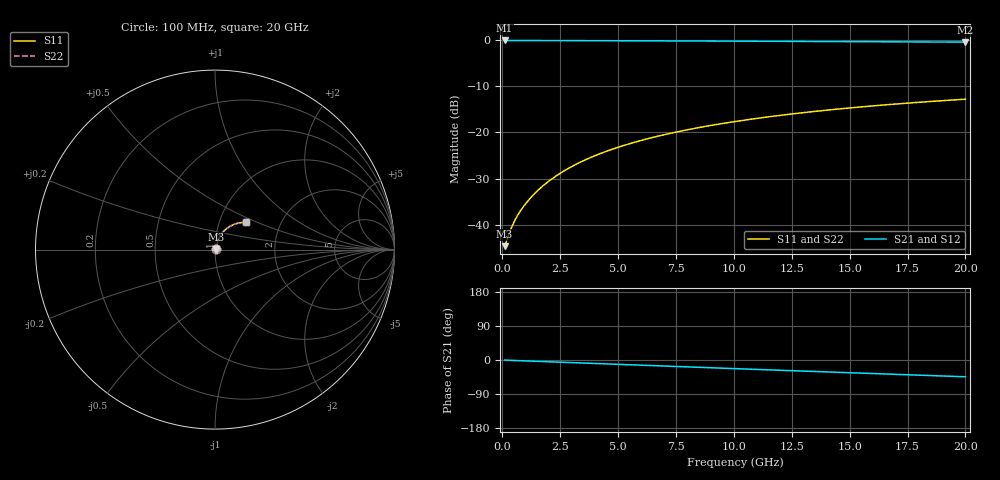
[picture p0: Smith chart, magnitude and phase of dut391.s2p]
! Touchstone file exported from HFSS 2026.1.0
!  File:  C:/ffzhzh/LocalFiles/Ansys_Project_Files/temp_train_TMRDL_391_1783004732_46388.aedt
!  Generated:  11:06:42 PM Jul  2, 2026
!  Design:  TMRDL
!  Project:  temp_train_TMRDL_391_1783004732_46388
! Variables:
!  h_bsmrdl = 2um
!  h_ox = 20um
!  h_rdl = 5um
!  h_sub = 80um
!  h_tmrdl = 2.83um
!  h_tsv = 80um
!  h_via = 3um
!  l_bsmrdl = 300um
!  l_sub = 1153.95um
!  l_tmrdl = 753.95um
!  m_sub = 200um
!  pitch = 26.09um
!  r_tsv = 6um
!  s_tmrdl = 10um
!  w_bsmrdl = 18um
!  w_sub = 500um
!  w_tmrdl = 17.47um
!  x_tsv_center1 = 762.685um
!  x_tsv_center2 = 1080.685um
!  x_tsv_center3 = 1852.105um
!  x_tsv_center4 = 2170.105um
!  x_tsv_center5 = 2941.525um
!  x_tsv_center6 = 3259.525um
# GHz S MA R 50.000000
! Terminal data exported
! Port[1] = TM_RDL1_1_T1
! Port[2] = TM_RDL1_1_T2
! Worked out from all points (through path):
!   200 points, 100 MHz to 20 GHz, reference 50 ohm
!   highest |S21| = -0.05 dB at 100 MHz (marker M1); lowest = -0.4 dB at 20 GHz (marker M2)
!   group delay of S21, straight-line fit = 6.14 ps
!   lowest |S11| = -44.6 dB at 100 MHz (marker M3), VSWR 1.01, Z = 50.6 + j0.184 ohm
!   |S11| at or under -10 dB: start of sweep to end of sweep
!   |S22| runs from -44.6 to -12.8 dB; largest |S21 - S12| = 3.9e-15
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0.1  0.005855 18.1  0.9944 -0.3  0.9944 -0.3  0.005855 18.1
! Gamma 0 0 0 0
! Port Impedance 50 0 50 0
0.4  0.00932 45.9  0.9936 -1.0  0.9936 -1.0  0.00932 45.9
0.5  0.0106 49.9  0.9933 -1.2  0.9933 -1.2  0.0106 49.9
0.6  0.01186 53.0  0.9931 -1.5  0.9931 -1.5  0.01186 53.0
0.7  0.0131 55.5  0.9928 -1.7  0.9928 -1.7  0.0131 55.5
0.9  0.01556 59.4  0.9925 -2.1  0.9925 -2.1  0.01556 59.4
1.1  0.01803 62.3  0.9922 -2.6  0.9922 -2.6  0.01803 62.3
1.3  0.02053 64.6  0.992 -3.1  0.992 -3.1  0.02053 64.6
1.8  0.02693 68.3  0.9916 -4.2  0.9916 -4.2  0.02693 68.3
2.3  0.03347 70.2  0.9911 -5.3  0.9911 -5.3  0.03347 70.2
2.9  0.04141 71.2  0.9905 -6.7  0.9905 -6.7  0.04141 71.2
3.5  0.04937 71.5  0.9899 -8.1  0.9899 -8.1  0.04937 71.5
4.2  0.05863 71.1  0.989 -9.7  0.989 -9.7  0.05863 71.1
5  0.06912 70.3  0.9878 -11.5  0.9878 -11.5  0.06912 70.3
5.9  0.08076 69.0  0.9863 -13.6  0.9863 -13.6  0.08076 69.0
6.8  0.09219 67.5  0.9846 -15.6  0.9846 -15.6  0.09219 67.5
8.3  0.1107 64.7  0.9816 -18.9  0.9816 -18.9  0.1107 64.7
10.1  0.132 61.2  0.9776 -22.9  0.9776 -22.9  0.132 61.2
11.7  0.15 57.9  0.9739 -26.5  0.9739 -26.5  0.15 57.9
13.4  0.1682 54.5  0.9698 -30.2  0.9698 -30.2  0.1682 54.5
16.7  0.2008 47.8  0.9618 -37.3  0.9618 -37.3  0.2008 47.8
20  0.2295 41.2  0.9541 -44.3  0.9541 -44.3  0.2294 41.2
